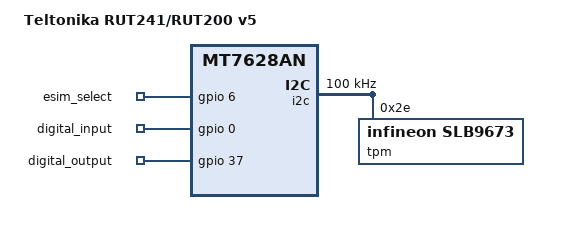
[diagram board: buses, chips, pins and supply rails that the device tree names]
// SPDX-License-Identifier: GPL-2.0-or-later OR MIT

#include "mt7628an_teltonika_rut2xx.dtsi"

/ {
	compatible = "teltonika,rut241-v5", "mediatek,mt7628an-soc";
	model = "Teltonika RUT241/RUT200 v5";

	gpio-export {
		compatible = "gpio-export";

		gpio_esim_select {
			gpio-export,name = "esim_select";
			gpio-export,output = <0>;
			gpios = <&gpio 6 GPIO_ACTIVE_HIGH>;
		};

		gpio_din {
			gpio-export,name = "digital_input";
			gpio-export,input = <0>;
			gpios = <&gpio 0 GPIO_ACTIVE_HIGH>;
		};

		gpio_dout {
			gpio-export,name = "digital_output";
			gpio-export,output = <0>;
			gpios = <&gpio 37 GPIO_ACTIVE_HIGH>;
		};
	};
};

&i2c {
	status = "okay";
	clock-frequency = <100000>;

	tpm: tpm@2e {
		compatible = "infineon,slb9673";
		reg = <0x2e>;
		status = "okay";
	};
};
